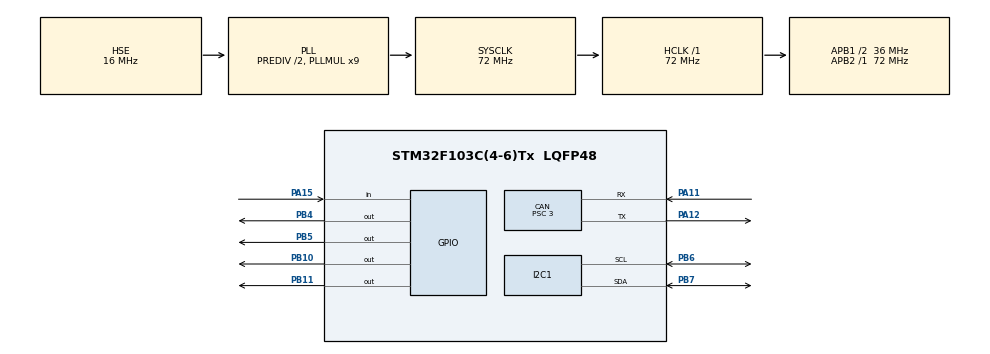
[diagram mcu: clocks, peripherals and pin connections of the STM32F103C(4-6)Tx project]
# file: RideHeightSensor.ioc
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CAN.BS1=CAN_BS1_10TQ
CAN.CalculateBaudRate=999999
CAN.CalculateTimeBit=1000
CAN.CalculateTimeQuantum=83.33333333333334
CAN.Mode=CAN_MODE_NORMAL
CAN.Prescaler=3
Mcu.Family=STM32F1
Mcu.Name=STM32F103C(4-6)Tx
Mcu.Package=LQFP48
NVIC.PriorityGroup=NVIC_PRIORITYGROUP_4
NVIC.TIM1_UP_IRQn=true\:0\:0\:false\:false\:true\:true\:true\:true
PA11.Mode=CAN_Activate
PA11.Signal=CAN_RX
PA12.Mode=CAN_Activate
PA12.Signal=CAN_TX
PA13.Mode=Serial_Wire
PA13.Signal=SYS_JTMS-SWDIO
PA14.Mode=Serial_Wire
PA14.Signal=SYS_JTCK-SWCLK
PA15.Signal=GPIO_Input
PB10.Signal=GPIO_Output
PB11.Signal=GPIO_Output
PB4.Signal=GPIO_Output
PB5.Signal=GPIO_Output
PB6.Mode=I2C
PB6.Signal=I2C1_SCL
PB7.Mode=I2C
PB7.Signal=I2C1_SDA
PD0-OSC_IN.Mode=HSE-External-Oscillator
PD0-OSC_IN.Signal=RCC_OSC_IN
PD1-OSC_OUT.Mode=HSE-External-Oscillator
PD1-OSC_OUT.Signal=RCC_OSC_OUT
ProjectManager.HeapSize=0x200
ProjectManager.StackSize=0x400
ProjectManager.TargetToolchain=STM32CubeIDE
RCC.AHBFreq_Value=72000000
RCC.APB1CLKDivider=RCC_HCLK_DIV2
RCC.APB1Freq_Value=36000000
RCC.APB1TimFreq_Value=72000000
RCC.APB2Freq_Value=72000000
RCC.APB2TimFreq_Value=72000000
RCC.HCLKFreq_Value=72000000
RCC.HSEDivPLL=RCC_HSE_PREDIV_DIV2
RCC.HSE_VALUE=16000000
RCC.PLLMUL=RCC_PLL_MUL9
RCC.PLLSourceVirtual=RCC_PLLSOURCE_HSE
RCC.SYSCLKFreq_VALUE=72000000
RCC.SYSCLKSource=RCC_SYSCLKSOURCE_PLLCLK
RCC.USBFreq_Value=72000000
TIM1.AutoReloadPreload=TIM_AUTORELOAD_PRELOAD_DISABLE
TIM1.CounterMode=TIM_COUNTERMODE_UP
TIM1.Period=9
TIM1.Prescaler=7199
VP_TIM1_VS_ClockSourceINT.Mode=Internal
board=custom

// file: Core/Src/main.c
/* USER CODE BEGIN Header */
/* USER CODE END Header */
#include "main.h"

/* USER CODE BEGIN Includes */
#include "core_cm3.h"  // for __NOP
#include "stm32f1xx_hal.h"
/* USER CODE END Includes */

/* USER CODE BEGIN PD */
//ADC
#define ADS1119_ADDR     (0x40 << 1)  // 7-bit address + R/W bit
#define ADS1119_REG_CONFIG   0x40
#define ADS1119_CMD_START    0x08
#define ADS1119_CMD_READ     0x10
#define ADS1119_CMD_RESET    0x06

//Testato funziona NON MODIFICARE
#define CONFIG_AIN0   0b01101111 // AIN0 - AGND
#define CONFIG_AIN1   0b10001111 //	AIN1 - AGND
#define CONFIG_AIN2   0b10101111 //	AIN2 - AGND
#define CONFIG_AIN3   0b11001111 // AIN3 - AGND

#define MUX1_A0_B GPIO_PIN_5
#define MUX1_A1_B GPIO_PIN_4

#define MUX2_A0_B GPIO_PIN_11
#define MUX2_A1_B GPIO_PIN_10

#define CAN_ID_MAIN_DATA 0x318 // ID messaggio ride height (2byte l'uno): left + rigt + adc1 + adc2

/* USER CODE END PD */

CAN_HandleTypeDef hcan;

I2C_HandleTypeDef hi2c1;

TIM_HandleTypeDef htim1;

/* USER CODE BEGIN PV */

// Global variables for timing flags
volatile uint8_t flag_1ms = 0;
volatile uint8_t flag_10ms = 0;
volatile uint8_t flag_100ms = 0;
volatile uint8_t flag_1000ms = 0;

// Counter variables
volatile uint16_t ms_counter = 0;

// Globals for debug timing
volatile uint32_t exec_time_1ms = 0; // should not exceed 50_000
volatile uint32_t exec_time_10ms = 0; // should not exceed 500_000
volatile uint32_t exec_time_100ms = 0; // should not exceed 5_000_000
volatile uint32_t exec_time_1000ms = 0; // should not exceed 50_000_000

// Helper macro to compute time difference with wraparound
#define SYSTICK_DIFF(start, end) ((start >= end) ? (start - end) : (SysTick->LOAD - end + start))

// CAN
CAN_TxHeaderTypeDef can_main_data_TxHeader;
uint32_t can_TxMailbox = 0;
uint8_t can_main_data[8] = {0x00};

// ADC
int16_t pt_analog_in_raw[8] = {0};
int16_t adc_analog_in_raw[2] = {0};
int16_t height_right_analog_in_raw = 0;
int16_t height_left_analog_in_raw = 0;

// Converted millivolt values
int32_t pt_analog_in_mv[8] = {0};
int32_t adc_analog_in_mv[2] = {0};
int32_t height_right_analog_in_mv = 0;
int32_t height_left_analog_in_mv = 0;

// Calibrated distance outputs (in mm)
float distance_right_mm = 0.0f;
float distance_left_mm = 0.0f;

float pt_analog_in_temp[8] = {0.0f};

// CONFIG byte for differential AIN0-AIN1, Gain = 1, 20 SPS, continuous mode
uint8_t config_data[2] = {0x01, 0b00000100};  // Register address + config byte

//LOOKUP TABLES
// Structure for a lookup table
typedef struct {
    const int32_t *input_values;  // Array of input values (mV)
    const float *output_values;   // Array of output values (mm or °C)
    uint8_t size;                 // Number of entries in the table
} LookupTable_t;

// Table for height sensor RIGHT
// Current Sensor Baseline {870, 2051, 3210, 4335};
// Voltage Sensor Baseline PROBLEMA voltage creep
static const int32_t height_right_input_mv[] = {870, 2051, 3210, 4335};
static const float height_right_output_mm[] = {16.0f, 51.0f, 86.0f, 120.0f};
LookupTable_t height_right_table = {
    .input_values = height_right_input_mv,
    .output_values = height_right_output_mm,
    .size = 4
};

// Table for height sensor LEFT
// Current Sensor Baseline {866, 2045, 3200, 4328};
// Voltage Sensor Baseline PROBLEMA voltage creep
static const int32_t height_left_input_mv[] = {866, 2045, 3200, 4328};
static const float height_left_output_mm[] = {16.0f, 51.0f, 86.0f, 120.0f};
LookupTable_t height_left_table = {
    .input_values = height_left_input_mv,
    .output_values = height_left_output_mm,
    .size = 4
};

// Table for temperature sensor
static const int32_t temp_input_mv[] = {0, 1000, 2000, 3000};
static const float temp_output_c[] = {-10.0f, 25.0f, 60.0f, 100.0f};
LookupTable_t temp_table = {
    .input_values = temp_input_mv,
    .output_values = temp_output_c,
    .size = 4
};

/* USER CODE END PV */

void SystemClock_Config(void);
static void MX_GPIO_Init(void);
static void MX_I2C1_Init(void);
static void MX_CAN_Init(void);
static void MX_TIM1_Init(void);
/* USER CODE BEGIN PFP */
void ADS1119_Reset(I2C_HandleTypeDef *hi2c);
void ADS1119_Start(I2C_HandleTypeDef *hi2c);
void ADS1119_Config(I2C_HandleTypeDef *hi2c, int port_number);
int16_t ADS1119_Read(I2C_HandleTypeDef *hi2c);
int32_t ADS1119_ConvertToMillivolts(int16_t raw_value);

void SetMUX(uint8_t mux_value);

void ConvertMilliVoltsToDistance(void);
void ConvertMilliVoltsToTemperature(void);

void ConvertAllAdcToMillivolts(void);

void Analog_Read_ALL(void);

float LookupWithInterpolation(const LookupTable_t *table, int32_t input);

void SystemClock_Config(void);
static void MX_GPIO_Init(void);
static void MX_CAN_Init(void);

void CAN_Config(void);

void SendMainDataToCan(void);

/* USER CODE END PFP */

int main(void)
{

  /* MCU Configuration--------------------------------------------------------*/

  /* Reset of all peripherals, Initializes the Flash interface and the Systick. */
  HAL_Init();

  /* Configure the system clock */
  SystemClock_Config();

  /* Initialize all configured peripherals */
  MX_GPIO_Init();
  MX_I2C1_Init();
  MX_CAN_Init();
  MX_TIM1_Init();

  /* Infinite loop */
  /* USER CODE BEGIN WHILE */

  ADS1119_Reset(&hi2c1);
  ADS1119_Start(&hi2c1);

  HAL_Delay(10);

  //HAL_CAN_Stop(&hcan);
  HAL_CAN_Start(&hcan);

  // Start TIM1 in interrupt mode
  HAL_TIM_Base_Start_IT(&htim1);

  while (1) {
      uint32_t start, end;

      if (flag_1ms) {
          flag_1ms = 0;
          start = SysTick->VAL;

          // 1ms tasks here

          end = SysTick->VAL;
          exec_time_1ms = SYSTICK_DIFF(start, end);
      }

      if (flag_10ms) {
          flag_10ms = 0;
          start = SysTick->VAL;

          // 10ms tasks
          Analog_Read_ALL();
          ConvertAllAdcToMillivolts();
          ConvertMilliVoltsToDistance();
          ConvertMilliVoltsToTemperature();
          SendMainDataToCan();

          end = SysTick->VAL;
          exec_time_10ms = SYSTICK_DIFF(start, end);
      }

      if (flag_100ms) {
          flag_100ms = 0;
          start = SysTick->VAL;

          // 100ms tasks

          end = SysTick->VAL;
          exec_time_100ms = SYSTICK_DIFF(start, end);
      }

      if (flag_1000ms) {
          flag_1000ms = 0;
          start = SysTick->VAL;

          // 1 second tasks

          end = SysTick->VAL;
          exec_time_1000ms = SYSTICK_DIFF(start, end);
      }
  }

    /* USER CODE END WHILE */

}

void SystemClock_Config(void)
{
  RCC_OscInitTypeDef RCC_OscInitStruct = {0};
  RCC_ClkInitTypeDef RCC_ClkInitStruct = {0};

  /** Initializes the RCC Oscillators according to the specified parameters
  * in the RCC_OscInitTypeDef structure.
  */
  RCC_OscInitStruct.OscillatorType = RCC_OSCILLATORTYPE_HSE;
  RCC_OscInitStruct.HSEState = RCC_HSE_ON;
  RCC_OscInitStruct.HSEPredivValue = RCC_HSE_PREDIV_DIV2;
  RCC_OscInitStruct.HSIState = RCC_HSI_ON;
  RCC_OscInitStruct.PLL.PLLState = RCC_PLL_ON;
  RCC_OscInitStruct.PLL.PLLSource = RCC_PLLSOURCE_HSE;
  RCC_OscInitStruct.PLL.PLLMUL = RCC_PLL_MUL9;
  if (HAL_RCC_OscConfig(&RCC_OscInitStruct) != HAL_OK)
  {
    Error_Handler();
  }

  /** Initializes the CPU, AHB and APB buses clocks
  */
  RCC_ClkInitStruct.ClockType = RCC_CLOCKTYPE_HCLK|RCC_CLOCKTYPE_SYSCLK
                              |RCC_CLOCKTYPE_PCLK1|RCC_CLOCKTYPE_PCLK2;
  RCC_ClkInitStruct.SYSCLKSource = RCC_SYSCLKSOURCE_PLLCLK;
  RCC_ClkInitStruct.AHBCLKDivider = RCC_SYSCLK_DIV1;
  RCC_ClkInitStruct.APB1CLKDivider = RCC_HCLK_DIV2;
  RCC_ClkInitStruct.APB2CLKDivider = RCC_HCLK_DIV1;

  if (HAL_RCC_ClockConfig(&RCC_ClkInitStruct, FLASH_LATENCY_2) != HAL_OK)
  {
    Error_Handler();
  }
}

static void MX_CAN_Init(void)
{

  hcan.Instance = CAN1;
  hcan.Init.Prescaler = 3;
  hcan.Init.Mode = CAN_MODE_NORMAL;
  hcan.Init.SyncJumpWidth = CAN_SJW_1TQ;
  hcan.Init.TimeSeg1 = CAN_BS1_10TQ;
  hcan.Init.TimeSeg2 = CAN_BS2_1TQ;
  hcan.Init.TimeTriggeredMode = DISABLE;
  hcan.Init.AutoBusOff = DISABLE;
  hcan.Init.AutoWakeUp = DISABLE;
  hcan.Init.AutoRetransmission = DISABLE;
  hcan.Init.ReceiveFifoLocked = DISABLE;
  hcan.Init.TransmitFifoPriority = DISABLE;
  if (HAL_CAN_Init(&hcan) != HAL_OK)
  {
    Error_Handler();
  }

}

static void MX_I2C1_Init(void)
{

  /* USER CODE BEGIN I2C1_Init 1 */
	GPIO_InitTypeDef GPIO_InitStruct = {0};

	// Enable GPIO clock if not already
	__HAL_RCC_GPIOB_CLK_ENABLE();

	GPIO_InitStruct.Pin = GPIO_PIN_6 | GPIO_PIN_7; // SCL and SDA
	GPIO_InitStruct.Mode = GPIO_MODE_AF_OD;
	GPIO_InitStruct.Pull = GPIO_PULLUP;
	GPIO_InitStruct.Speed = GPIO_SPEED_FREQ_HIGH;
	HAL_GPIO_Init(GPIOB, &GPIO_InitStruct);
  /* USER CODE END I2C1_Init 1 */
  hi2c1.Instance = I2C1;
  hi2c1.Init.ClockSpeed = 100000;
  hi2c1.Init.DutyCycle = I2C_DUTYCYCLE_2;
  hi2c1.Init.OwnAddress1 = 0;
  hi2c1.Init.AddressingMode = I2C_ADDRESSINGMODE_7BIT;
  hi2c1.Init.DualAddressMode = I2C_DUALADDRESS_DISABLE;
  hi2c1.Init.OwnAddress2 = 0;
  hi2c1.Init.GeneralCallMode = I2C_GENERALCALL_DISABLE;
  hi2c1.Init.NoStretchMode = I2C_NOSTRETCH_DISABLE;
  if (HAL_I2C_Init(&hi2c1) != HAL_OK)
  {
    Error_Handler();
  }

}

static void MX_TIM1_Init(void)
{

  TIM_ClockConfigTypeDef sClockSourceConfig = {0};
  TIM_MasterConfigTypeDef sMasterConfig = {0};

  htim1.Instance = TIM1;
  htim1.Init.Prescaler = 7199;
  htim1.Init.CounterMode = TIM_COUNTERMODE_UP;
  htim1.Init.Period = 9;
  htim1.Init.ClockDivision = TIM_CLOCKDIVISION_DIV1;
  htim1.Init.RepetitionCounter = 0;
  htim1.Init.AutoReloadPreload = TIM_AUTORELOAD_PRELOAD_DISABLE;
  if (HAL_TIM_Base_Init(&htim1) != HAL_OK)
  {
    Error_Handler();
  }
  sClockSourceConfig.ClockSource = TIM_CLOCKSOURCE_INTERNAL;
  if (HAL_TIM_ConfigClockSource(&htim1, &sClockSourceConfig) != HAL_OK)
  {
    Error_Handler();
  }
  sMasterConfig.MasterOutputTrigger = TIM_TRGO_RESET;
  sMasterConfig.MasterSlaveMode = TIM_MASTERSLAVEMODE_DISABLE;
  if (HAL_TIMEx_MasterConfigSynchronization(&htim1, &sMasterConfig) != HAL_OK)
  {
    Error_Handler();
  }

}

static void MX_GPIO_Init(void)
{
  GPIO_InitTypeDef GPIO_InitStruct = {0};

  /* GPIO Ports Clock Enable */
  __HAL_RCC_GPIOD_CLK_ENABLE();
  __HAL_RCC_GPIOB_CLK_ENABLE();
  __HAL_RCC_GPIOA_CLK_ENABLE();

  /*Configure GPIO pin Output Level */
  HAL_GPIO_WritePin(GPIOB, GPIO_PIN_10|GPIO_PIN_11|GPIO_PIN_4|GPIO_PIN_5, GPIO_PIN_RESET);

  /*Configure GPIO pins : PB10 PB11 PB4 PB5 */
  GPIO_InitStruct.Pin = GPIO_PIN_10|GPIO_PIN_11|GPIO_PIN_4|GPIO_PIN_5;
  GPIO_InitStruct.Mode = GPIO_MODE_OUTPUT_PP;
  GPIO_InitStruct.Pull = GPIO_NOPULL;
  GPIO_InitStruct.Speed = GPIO_SPEED_FREQ_LOW;
  HAL_GPIO_Init(GPIOB, &GPIO_InitStruct);

  /*Configure GPIO pin : PA15 */
  GPIO_InitStruct.Pin = GPIO_PIN_15;
  GPIO_InitStruct.Mode = GPIO_MODE_INPUT;
  GPIO_InitStruct.Pull = GPIO_NOPULL;
  HAL_GPIO_Init(GPIOA, &GPIO_InitStruct);

}

/* USER CODE BEGIN 4 */

void ADS1119_Reset(I2C_HandleTypeDef *hi2c){
    uint8_t reset_cmd = ADS1119_CMD_RESET;
    HAL_I2C_Master_Transmit(hi2c, ADS1119_ADDR, &reset_cmd, 1, HAL_MAX_DELAY);

    HAL_Delay(5);  // Allow reset time
}

void ADS1119_Start(I2C_HandleTypeDef *hi2c){
    // 3. Start conversion
    uint8_t start_cmd = ADS1119_CMD_START;
    HAL_I2C_Master_Transmit(hi2c, ADS1119_ADDR, &start_cmd, 1, HAL_MAX_DELAY);
}

void ADS1119_Config(I2C_HandleTypeDef *hi2c, int port_number){

	   // 2. Configure for AIN0-AIN1, gain = 1, 20SPS, continuous, internal ref
	    uint8_t config_data[2] ;
	    config_data[0] = ADS1119_REG_CONFIG;

	    if (port_number==0)
	    	config_data[1] = CONFIG_AIN0;
	    if (port_number==1)
			config_data[1] = CONFIG_AIN1;
	    if (port_number==2)
			config_data[1] = CONFIG_AIN2;
	    if (port_number==3)
			config_data[1] = CONFIG_AIN3;

	    HAL_I2C_Master_Transmit(hi2c, ADS1119_ADDR, config_data, 2, HAL_MAX_DELAY);

}

int16_t ADS1119_Read(I2C_HandleTypeDef *hi2c) {
    HAL_StatusTypeDef ret;
    uint8_t data[2];

    // 5. Read conversion result
    uint8_t read_cmd = ADS1119_CMD_READ;
    ret = HAL_I2C_Master_Transmit(hi2c, ADS1119_ADDR, &read_cmd, 1, HAL_MAX_DELAY);
    if (ret != HAL_OK) return -10003;

    ret = HAL_I2C_Master_Receive(hi2c, ADS1119_ADDR, data, 2, HAL_MAX_DELAY);
    if (ret != HAL_OK) return -10004;

    int16_t adc_result = (data[0] << 8) | data[1];
    return adc_result;
}

void Analog_Read_ALL(void){

	ADS1119_Config(&hi2c1,0);
	ADS1119_Start(&hi2c1);

	SetMUX(0b00000000);
    adc_analog_in_raw[0] = ADS1119_Read(&hi2c1); 	//ADC1

    SetMUX(0b00000101);
    // NC

    SetMUX(0b00001010);
    pt_analog_in_raw[0] = ADS1119_Read(&hi2c1); 	//PT1

    SetMUX(0b00001111);
    adc_analog_in_raw[1] = ADS1119_Read(&hi2c1); 	//ADC2

	ADS1119_Config(&hi2c1,1);
	ADS1119_Start(&hi2c1);

	SetMUX(0b00000000);
	pt_analog_in_raw[1] = ADS1119_Read(&hi2c1);	//PT2

    SetMUX(0b00000101);
    pt_analog_in_raw[7] = ADS1119_Read(&hi2c1);	//PT8

    SetMUX(0b00001010);
    pt_analog_in_raw[3] = ADS1119_Read(&hi2c1);	//PT4

    SetMUX(0b00001111);
    pt_analog_in_raw[5] = 0;//ADS1119_Read(&hi2c1,1);	//PT6 PCB ERROR NOT CONNECTED

	ADS1119_Config(&hi2c1,2);
	ADS1119_Start(&hi2c1);

	SetMUX(0b00000000);
	pt_analog_in_raw[2] = ADS1119_Read(&hi2c1);	//PT3

    SetMUX(0b00000101);
    pt_analog_in_raw[4] = ADS1119_Read(&hi2c1);	//PT5

    SetMUX(0b00001010);
    pt_analog_in_raw[6] = ADS1119_Read(&hi2c1);	//PT7

    SetMUX(0b00001111);
    height_left_analog_in_raw = ADS1119_Read(&hi2c1);//Height Left

	ADS1119_Config(&hi2c1,3);
	ADS1119_Start(&hi2c1);

	SetMUX(0b00000000);
	// NC

    SetMUX(0b00000101);
    height_right_analog_in_raw = ADS1119_Read(&hi2c1);//Height Right

    SetMUX(0b00001010);
    // NC

    SetMUX(0b00001111);
    // NC

}

void SetMUX(uint8_t mux_value) {
    // Extract each bit from the mux_value
    uint8_t mux1_a0 = (mux_value >> 0) & 0x01;
    uint8_t mux1_a1 = (mux_value >> 1) & 0x01;
    uint8_t mux2_a0 = (mux_value >> 2) & 0x01;
    uint8_t mux2_a1 = (mux_value >> 3) & 0x01;

    // Set the GPIOs accordingly
    HAL_GPIO_WritePin(GPIOB, MUX1_A0_B, mux1_a0 ? GPIO_PIN_SET : GPIO_PIN_RESET);
    HAL_GPIO_WritePin(GPIOB, MUX1_A1_B, mux1_a1 ? GPIO_PIN_SET : GPIO_PIN_RESET);
    HAL_GPIO_WritePin(GPIOB, MUX2_A0_B, mux2_a0 ? GPIO_PIN_SET : GPIO_PIN_RESET);
    HAL_GPIO_WritePin(GPIOB, MUX2_A1_B, mux2_a1 ? GPIO_PIN_SET : GPIO_PIN_RESET);

    for(int i = 0; i<10000; i++){ // at least 8000
    	//empty loop to allow time for MUX to set
    	__NOP();
    }

}

void ConvertAllAdcToMillivolts(void) {
    // Convert PT analog inputs (8 channels)
    for(int i = 0; i < 8; i++) {
        pt_analog_in_mv[i] = ADS1119_ConvertToMillivolts(pt_analog_in_raw[i]);
    }

    // Convert ADC analog inputs (2 channels)
    for(int i = 0; i < 2; i++) {
        adc_analog_in_mv[i] = ADS1119_ConvertToMillivolts(adc_analog_in_raw[i]);
    }

    // Convert height sensors
    height_right_analog_in_mv = ADS1119_ConvertToMillivolts(height_right_analog_in_raw);
    height_left_analog_in_mv = ADS1119_ConvertToMillivolts(height_left_analog_in_raw);
}

int32_t ADS1119_ConvertToMillivolts(int16_t raw_value) {

    return (int32_t)(raw_value * 5000) / 32768;

}

void ConvertMilliVoltsToDistance(void) {
    distance_right_mm = LookupWithInterpolation(&height_right_table, height_right_analog_in_mv);
    distance_left_mm = LookupWithInterpolation(&height_left_table, height_left_analog_in_mv);
}

void ConvertMilliVoltsToTemperature(void){
    for(int i = 0; i < 8; i++) {
        pt_analog_in_temp[i] = LookupWithInterpolation(&temp_table, pt_analog_in_mv[i]);
    }
}

float LookupWithInterpolation(const LookupTable_t *table, int32_t input) {
    // Check for input below table range
    if(input <= table->input_values[0]) {
        return table->output_values[0];
    }

    // Check for input above table range
    if(input >= table->input_values[table->size-1]) {
        return table->output_values[table->size-1];
    }

    // Find the interval where input lies
    uint8_t i;
    for(i = 0; i < table->size-1; i++) {
        if(input < table->input_values[i+1]) {
            break;
        }
    }

    // Linear interpolation
    float slope = (table->output_values[i+1] - table->output_values[i]) /
                  (float)(table->input_values[i+1] - table->input_values[i]);

    return table->output_values[i] + slope * (input - table->input_values[i]);
}

void SendMainDataToCan(void){

    // Initialize the header fields
	can_main_data_TxHeader.StdId = CAN_ID_MAIN_DATA;          // Standard ID
	can_main_data_TxHeader.ExtId = 0x00;           // Not using extended ID
	can_main_data_TxHeader.RTR = CAN_RTR_DATA;     // Data frame (not remote)
	can_main_data_TxHeader.IDE = CAN_ID_STD;       // Standard ID
	can_main_data_TxHeader.DLC = 8;                // Send 8 bytes
	can_main_data_TxHeader.TransmitGlobalTime = DISABLE;

	can_main_data[0] = (uint8_t) (((uint16_t) (distance_right_mm * 10)) >> 8); //lohigh
	can_main_data[1] = (uint8_t) (distance_right_mm * 10);

	//i primi due byte sono heightSensor2
	can_main_data[2] = (uint8_t) (((uint16_t) (distance_left_mm * 10)) >> 8); //loHigh
	can_main_data[3] = (uint8_t) (distance_left_mm * 10);

	//
	can_main_data[4] = (uint8_t) (((uint16_t) adc_analog_in_mv[0]) >> 8); //loHigh
	can_main_data[5] = (uint8_t) (adc_analog_in_mv[0]);

	can_main_data[6] = (uint8_t) (((uint16_t) adc_analog_in_mv[1]) >> 8); //loHigh
	can_main_data[7] = (uint8_t) adc_analog_in_mv[1];

	if(HAL_CAN_AddTxMessage(&hcan, &can_main_data_TxHeader, can_main_data, &can_TxMailbox)!= HAL_OK)
	{
	Error_Handler();
	}
}

// Timer interrupt callback
void HAL_TIM_PeriodElapsedCallback(TIM_HandleTypeDef *htim)
{
    if (htim == &htim1)  // Check if the interrupt came from TIM1
    {
        flag_1ms = 1;  // Set 1ms flag

        ms_counter++;

        // Every 10ms (when counter is multiple of 10)
        if (ms_counter % 10 == 0) {
            flag_10ms = 1;
        }

        // Every 100ms (when counter is multiple of 100)
        if (ms_counter % 100 == 0) {
            flag_100ms = 1;
        }

        // Every 1000ms (when counter is multiple of 1000)
        if (ms_counter % 1000 == 0) {
            flag_1000ms = 1;
            ms_counter = 0;  // Reset counter to avoid overflow
        }
    }
}

/* USER CODE END 4 */

void Error_Handler(void)
{
  /* USER CODE BEGIN Error_Handler_Debug */
	HAL_Delay(1000);
	NVIC_SystemReset();
  /* USER CODE END Error_Handler_Debug */
}
